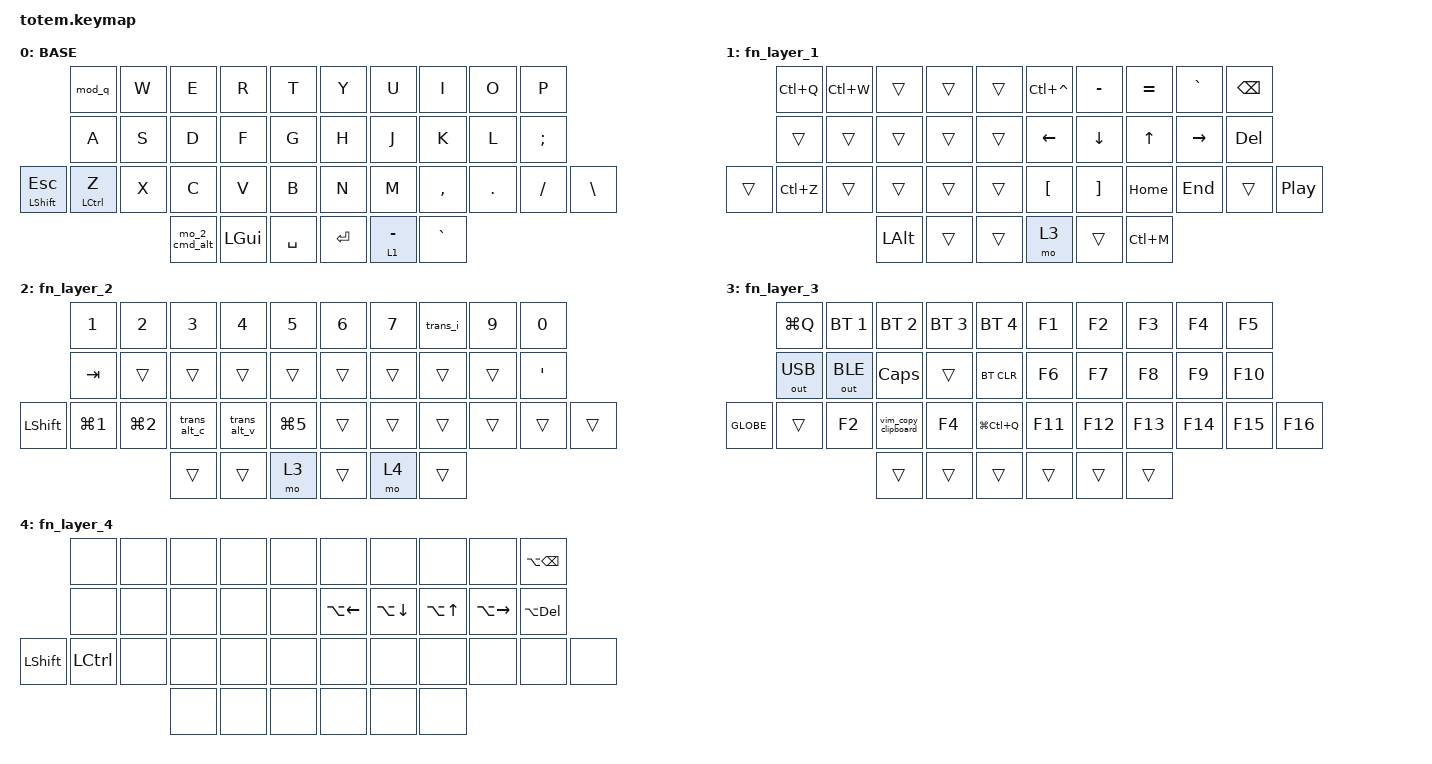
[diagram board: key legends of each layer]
//
//                                                        ▀▀▀▀▀     ▀▀▀▀▀          ▀▀█▀▀
//                                                        ▄▀▀▀▄  ▄  ▄▀▀▀▄  ▄  ▄▀▀▀▄  █  ▄▀▀▀▄
//                                                        █   █  █  █   █  █  █   █  █  █   █
//                                                         ▀▀▀   █   ▀▀▀   █   ▀▀▀   ▀   ▀▀▀
//                                                               █      ▄▄▄█▄▄▄    █   █
//                                                               ▀      █  █  █     █▄█
//                                                             ▀▀▀▀▀    █  █  █      ▀
//                                                                      ▀  ▀  ▀
//
// ▄▄▄▄▄▄▄▄▄▄▄▄▄▄▄▄▄▄▄▄▄▄▄▄▄▄▄▄▄▄▄▄▄▄▄▄▄▄▄▄▄▄▄▄▄▄▄▄▄▄▄▄▄▄▄▄▄▄▄▄▄▄▄▄▄▄▄▄▄▄▄▄▄▄▄▄▄▄▄▄▄▄▄▄▄▄▄▄▄▄▄▄▄▄▄▄▄▄▄▄▄▄▄▄▄▄▄▄▄▄▄▄▄▄▄▄▄▄▄▄▄▄▄▄▄▄▄▄▄▄▄▄▄▄▄▄▄▄▄▄▄▄▄▄▄▄▄▄▄

#include <behaviors.dtsi>
#include <dt-bindings/zmk/bt.h>
#include <dt-bindings/zmk/keys.h>
#include <dt-bindings/zmk/outputs.h>

/ {
    behaviors {
        mo_2_cmd_alt: mo_2_cmd_alt {
            compatible = "zmk,behavior-mod-morph";
            label = "MO_2_CMD_ALT";
            #binding-cells = <0>;
            bindings = <&mo 2>, <&kp LALT>;

            mods = <(MOD_LGUI)>;
            keep-mods = <(MOD_LGUI)>;
        };

        // for cmd + alt + I

        trans_i: trans_i {
            compatible = "zmk,behavior-mod-morph";
            label = "TRANS_I";
            #binding-cells = <0>;
            bindings = <&kp N8>, <&kp LA(I)>;

            mods = <(MOD_LGUI)>;
            keep-mods = <(MOD_LGUI)>;
        };

        trans_alt_c: trans_alt_c {
            compatible = "zmk,behavior-mod-morph";
            label = "TRANS_ALT_C";
            #binding-cells = <0>;
            bindings = <&kp LG(N3)>, <&kp C>;

            mods = <(MOD_LGUI)>;
            keep-mods = <(MOD_LGUI)>;
        };

        trans_alt_v: trans_alt_v {
            compatible = "zmk,behavior-mod-morph";
            label = "TRANS_ALT_V";
            #binding-cells = <0>;
            bindings = <&kp LG(N4)>, <&kp V>;

            mods = <(MOD_LGUI)>;
            keep-mods = <(MOD_LGUI)>;
        };

        hold_tap_magic: hold_tap_magic {
            compatible = "zmk,behavior-hold-tap";
            label = "HOLD_TAP_MAGIC";
            bindings = <&kp>, <&kp>;

            #binding-cells = <2>;
            tapping-term-ms = <160>;
            quick-tap-ms = <300>;
            hold-while-undecided;
            flavor = "hold-preferred";
        };

        hold_tap_shift_esc: hold_tap_shift_esc {
            compatible = "zmk,behavior-hold-tap";
            label = "HOLD_TAP_SHIFT_ESC";
            bindings = <&kp>, <&kp>;

            #binding-cells = <2>;
            tapping-term-ms = <160>;
            hold-while-undecided;
            flavor = "hold-preferred";
        };

        hold_tap_ctrl: hold_tap_ctrl {
            compatible = "zmk,behavior-hold-tap";
            label = "HOLD_TAP_ctrl";
            bindings = <&kp>, <&kp>;

            #binding-cells = <2>;
            tapping-term-ms = <120>;
            quick-tap-ms = <300>;
            hold-while-undecided;
            flavor = "hold-preferred";
            hold-trigger-key-positions = <1 4 5 17 16 15 14 13 25 26 27 28 29 30 18 6 7 19 31 32 20 8 9 21 34 22 33 10 35 24 36 37 38 39 41 40 14 15 16 26 27 28 36 0 1 3 4 5 6 7 8 9 10 11 12 13 14 15 16 17 18 19 20 21 22 23 24 25 26 27 28 29 30 32 33 34 35 36 37>;
        };

        mod_q: mod_q {
            compatible = "zmk,behavior-mod-morph";
            label = "MOD_Q";
            bindings = <&kp Q>, <&kp TAB>;

            #binding-cells = <0>;
            keep-mods = <(MOD_LGUI|MOD_LSFT|MOD_LCTL)>;
            mods = <(MOD_LGUI|MOD_LCTL)>;
        };

        mo_tapper: mo_tapper {
            compatible = "zmk,behavior-hold-tap";
            label = "MO_TAPPER";
            bindings = <&mo>, <&kp>;

            #binding-cells = <2>;
            tapping-term-ms = <160>;
            quick-tap-ms = <300>;
        };
    };

    macros {
        vim_copy_clipboard: vim_copy_clipboard {
            compatible = "zmk,behavior-macro";
            #binding-cells = <0>;
            bindings = <&kp DQT &kp PLUS &kp Y>;
            label = "VIM_COPY_CLIPBOARD";
        };
    };

    keymap {
        compatible = "zmk,keymap";

        // ▄▄▄▄▄▄▄▄▄▄▄▄▄▄▄▄▄▄▄▄▄▄▄▄▄▄▄▄▄▄▄▄▄▄▄▄▄▄▄▄▄▄▄▄▄▄▄▄▄▄▄▄▄▄▄▄▄▄▄▄▄▄▄▄▄▄▄▄▄▄▄▄▄▄▄▄▄▄▄▄▄▄▄▄▄▄▄▄▄▄▄▄▄▄▄▄▄▄▄▄▄▄▄▄▄▄▄▄▄▄▄▄▄▄▄▄▄▄▄▄▄▄▄▄▄▄▄▄▄▄▄▄▄▄▄▄▄▄▄▄▄▄▄▄▄▄▄▄▄

        base_layer {
            // ┏━━━━━━━━━━━━━━━━━━━━━━━━━━━━━━━━━━━━━━━┓

            label = "BASE";

            // ┗━━━━━━━━━━━━━━━━━━━━━━━━━━━━━━━━━━━━━━━┛

            bindings = <
                                    &mod_q                  &kp W  &kp E          &kp R     &kp T        &kp Y    &kp U               &kp I      &kp O    &kp P
                                    &kp A                   &kp S  &kp D          &kp F     &kp G        &kp H    &kp J               &kp K      &kp L    &kp SEMI
&hold_tap_shift_esc LEFT_SHIFT ESC  &hold_tap_ctrl LCTRL Z  &kp X  &kp C          &kp V     &kp B        &kp N    &kp M               &kp COMMA  &kp DOT  &kp FSLH  &kp BACKSLASH
                                                                   &mo_2_cmd_alt  &kp LGUI  &kp SPACE    &kp RET  &mo_tapper 1 MINUS  &kp GRAVE
            >;
        };

        // ▄▄▄▄▄▄▄▄▄▄▄▄▄▄▄▄▄▄▄▄▄▄▄▄▄▄▄▄▄▄▄▄▄▄▄▄▄▄▄▄▄▄▄▄▄▄▄▄▄▄▄▄▄▄▄▄▄▄▄▄▄▄▄▄▄▄▄▄▄▄▄▄▄▄▄▄▄▄▄▄▄▄▄▄▄▄▄▄▄▄▄▄▄▄▄▄▄▄▄▄▄▄▄▄▄▄▄▄▄▄▄▄▄▄▄▄▄▄▄▄▄▄▄▄▄▄▄▄▄▄▄▄▄▄▄▄▄▄▄▄▄▄▄▄▄▄▄▄▄

        fn_layer_1 {
            bindings = <
        &kp LC(Q)  &kp LC(W)  &trans    &trans  &trans    &kp LC(CARET)     &kp MINUS          &kp EQUAL  &kp GRAVE  &kp BACKSPACE
        &trans     &trans     &trans    &trans  &trans    &kp LEFT          &kp DOWN           &kp UP     &kp RIGHT  &kp DEL
&trans  &kp LC(Z)  &trans     &trans    &trans  &trans    &kp LEFT_BRACKET  &kp RIGHT_BRACKET  &kp HOME   &kp END    &trans         &kp C_PP
                              &kp LALT  &trans  &trans    &mo 3             &trans             &kp LC(M)
            >;
        };

        // ▄▄▄▄▄▄▄▄▄▄▄▄▄▄▄▄▄▄▄▄▄▄▄▄▄▄▄▄▄▄▄▄▄▄▄▄▄▄▄▄▄▄▄▄▄▄▄▄▄▄▄▄▄▄▄▄▄▄▄▄▄▄▄▄▄▄▄▄▄▄▄▄▄▄▄▄▄▄▄▄▄▄▄▄▄▄▄▄▄▄▄▄▄▄▄▄▄▄▄▄▄▄▄▄▄▄▄▄▄▄▄▄▄▄▄▄▄▄▄▄▄▄▄▄▄▄▄▄▄▄▄▄▄▄▄▄▄▄▄▄▄▄▄▄▄▄▄▄▄

        fn_layer_2 {
            bindings = <
                &kp N1      &kp N2      &kp N3        &kp N4        &kp N5        &kp N6  &kp N7  &trans_i  &kp N9  &kp N0
                &kp TAB     &trans      &trans        &trans        &trans        &trans  &trans  &trans    &trans  &kp SQT
&kp LEFT_SHIFT  &kp LG(N1)  &kp LG(N2)  &trans_alt_c  &trans_alt_v  &kp LG(N5)    &trans  &trans  &trans    &trans  &trans   &trans
                                        &trans        &trans        &mo 3         &trans  &mo 4   &trans
            >;
        };

        // ▄▄▄▄▄▄▄▄▄▄▄▄▄▄▄▄▄▄▄▄▄▄▄▄▄▄▄▄▄▄▄▄▄▄▄▄▄▄▄▄▄▄▄▄▄▄▄▄▄▄▄▄▄▄▄▄▄▄▄▄▄▄▄▄▄▄▄▄▄▄▄▄▄▄▄▄▄▄▄▄▄▄▄▄▄▄▄▄▄▄▄▄▄▄▄▄▄▄▄▄▄▄▄▄▄▄▄▄▄▄▄▄▄▄▄▄▄▄▄▄▄▄▄▄▄▄▄▄▄▄▄▄▄▄▄▄▄▄▄▄▄▄▄▄▄▄▄▄▄

        fn_layer_3 {
            bindings = <
           &kp LG(Q)     &bt BT_SEL 1  &bt BT_SEL 2         &bt BT_SEL 3  &bt BT_SEL 4     &kp F1  &kp F2  &kp F3  &kp F4  &kp F5
           &out OUT_USB  &out OUT_BLE  &kp CAPSLOCK         &trans        &bt BT_CLR       &kp F6  &kp F7  &kp F8  &kp F9  &kp F10
&kp GLOBE  &trans        &kp F2        &vim_copy_clipboard  &kp F4        &kp LG(LC(Q))    &kp F11  &kp F12  &kp F13  &kp F14  &kp F15  &kp F16
                                       &trans               &trans        &trans           &trans  &trans  &trans
            >;
        };

        fn_layer_4 {
            bindings = <
                &none      &none  &none  &none  &none    &none         &none         &none       &none          &kp LA(BACKSPACE)
                &none      &none  &none  &none  &none    &kp LA(LEFT)  &kp LA(DOWN)  &kp LA(UP)  &kp LA(RIGHT)  &kp LA(DEL)
&kp LEFT_SHIFT  &kp LCTRL  &none  &none  &none  &none    &none         &none         &none       &none          &none              &none
                                  &none  &none  &none    &none         &none         &none
            >;
        };
    };
};

